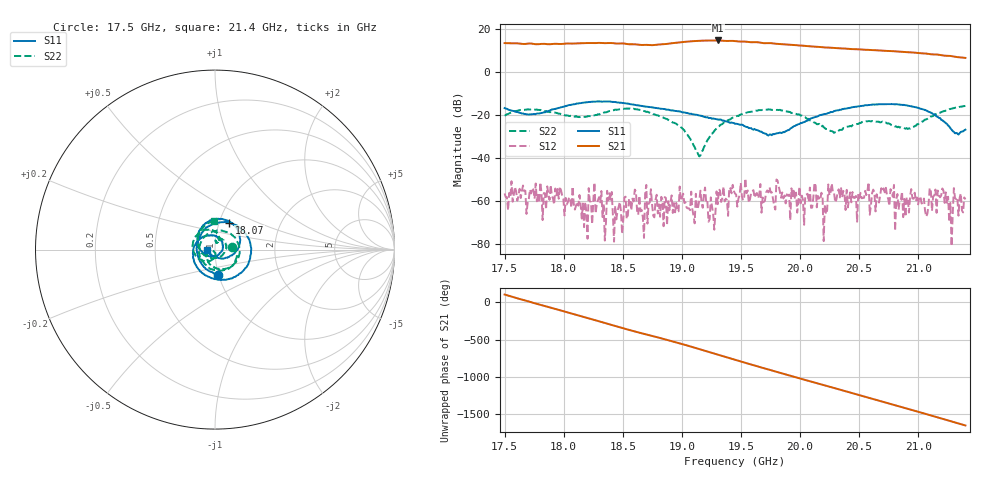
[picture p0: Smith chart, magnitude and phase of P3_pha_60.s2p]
!Created with skrf (http://scikit-rf.org).
# GHz S RI R 50.0
!freq ReS11 ImS11 ReS21 ImS21 ReS12 ImS12 ReS22 ImS22
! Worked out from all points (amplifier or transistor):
!   401 points, 17.5 GHz to 21.4 GHz, reference 50 ohm
!   highest |S21| = 14.5 dB at 19.3 GHz (marker M1)
!   |S21| within 3 dB of that: start of sweep to 20.16 GHz
!   unconditionally stable (mu >= 1): start of sweep to end of sweep
!   at 18.14 GHz: K = 132.92, MAG = 13.3 dB, |S12| = -62.0 dB
!   at 19.45 GHz: K = 65.88, MAG = 14.2 dB, |S12| = -56.7 dB
!   at 21.4 GHz: K = 219.78, MAG = 6.5 dB, |S12| = -59.4 dB
!   S11 on the Smith chart (normalised r, x): 17.5 GHz: 0.99, -0.29; 18.07 GHz: 1.12, +0.35; 21.4 GHz: 0.91, -0.00
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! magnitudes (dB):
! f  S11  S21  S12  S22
! 17.5 GHz  -17.0  13.2  -56.7  -20.5
! 18.07 GHz  -15.4  13.0  -63.2  -20.6
! 18.15 GHz  -14.6  13.2  -68.3  -21.1
! 18.3 GHz  -13.9  13.3  -58.4  -20.0
! 18.35 GHz  -13.9  13.2  -78.6  -18.9
! 18.39 GHz  -13.9  13.3  -56.5  -18.4
! 18.44 GHz  -14.2  13.1  -62.4  -17.7
! 18.59 GHz  -15.4  12.7  -60.4  -17.3
! 18.81 GHz  -17.1  12.6  -61.7  -20.6
! 19.15 GHz  -20.4  14.3  -59.8  -39.4
! 19.25 GHz  -22.0  14.4  -62.6  -28.9
! 19.3 GHz  -22.3  14.5  -61.6  -25.9
! 19.45 GHz  -24.3  14.2  -56.7  -21.0
! 19.74 GHz  -29.3  13.2  -53.8  -17.6
! 20.1 GHz  -21.6  11.7  -63.2  -23.1
! 20.21 GHz  -19.7  11.2  -61.7  -26.3
! 20.26 GHz  -18.8  11.1  -56.1  -27.6
! 20.76 GHz  -15.1  9.6  -62.4  -24.2
! 21.07 GHz  -18.1  8.4  -67.4  -22.2
! 21.21 GHz  -23.1  7.5  -55.4  -18.4
! 21.27 GHz  -26.3  7.3  -61.1  -17.4
! 21.4 GHz  -27.0  6.3  -59.4  -16.0
